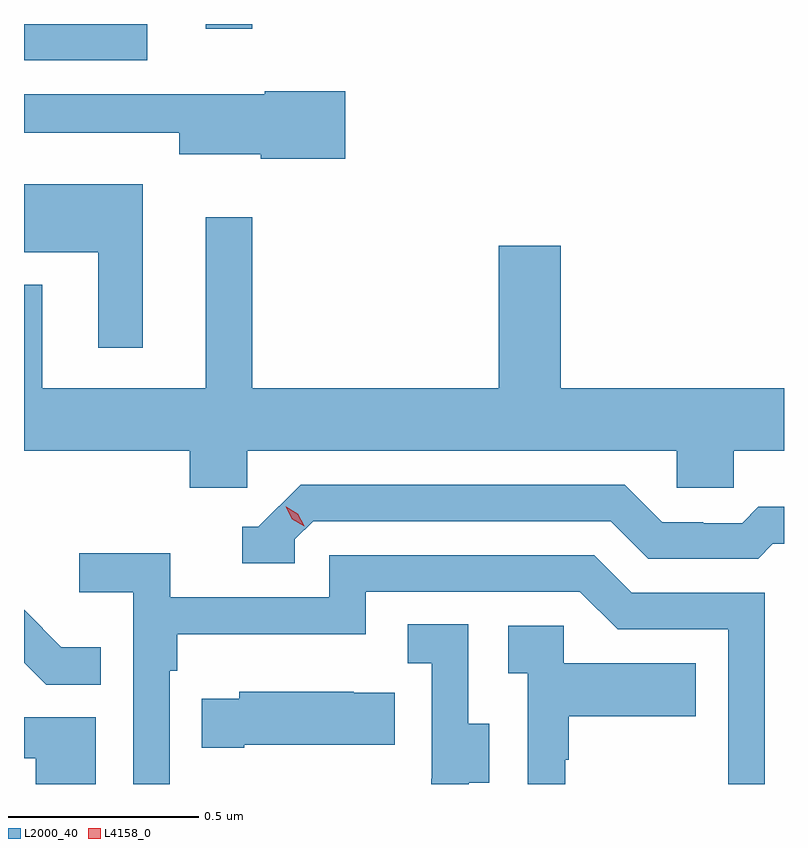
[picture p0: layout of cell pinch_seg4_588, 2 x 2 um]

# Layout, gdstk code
import gdstk
lib = gdstk.Library(unit=1e-6, precision=1e-09)
def R(c, l, rs):  # rectangles x0, y0, x1, y1
    for r in rs: c.add(gdstk.rectangle(r[:2], r[2:], *l))
def P(c, l, *ps):  # polygons
    for p in ps: c.add(gdstk.Polygon(p, *l))
L2000_40 = (2000, 40)
L4158_0 = (4158, 0)

pinch_seg4_588 = lib.new_cell('pinch_seg4_588')
R(pinch_seg4_588, L2000_40, [(1026.895,789.855,1027.219,789.951), (1027.373,789.939,1027.495,789.951)])
P(pinch_seg4_588, L2000_40, [(1027.741,789.774),(1027.528,789.774),(1027.528,789.766),(1026.895,789.766),(1026.895,789.665),(1027.304,789.665),(1027.304,789.608),(1027.518,789.608),(1027.518,789.596),(1027.741,789.596)],
  [(1027.207,789.529),(1026.895,789.529),(1026.895,789.35),(1027.091,789.35),(1027.091,789.099),(1027.207,789.099)],
  [(1027.482,788.828),(1028.613,788.828),(1028.613,788.73),(1028.763,788.73),(1028.763,788.828),(1028.895,788.828),(1028.895,788.992),(1028.308,788.992),(1028.308,789.367),(1028.144,789.367),(1028.144,788.992),(1027.495,788.992),(1027.495,789.442),(1027.373,789.442),(1027.373,788.992),(1026.943,788.992),(1026.943,789.265),(1026.895,789.265),(1026.895,788.828),(1027.331,788.828),(1027.331,788.73),(1027.482,788.73)],
  [(1027.608,788.595),(1027.656,788.643),(1028.439,788.643),(1028.538,788.544),(1028.827,788.544),(1028.866,788.583),(1028.895,788.583),(1028.895,788.68),(1028.827,788.68),(1028.785,788.637),(1028.682,788.637),(1028.682,788.64),(1028.575,788.64),(1028.476,788.739),(1027.623,788.739),(1027.512,788.628),(1027.469,788.628),(1027.469,788.532),(1027.608,788.532)],
  [(1027.278,788.249),(1027.298,788.249),(1027.298,788.345),(1027.794,788.345),(1027.794,788.457),(1028.358,788.457),(1028.457,788.358),(1028.748,788.358),(1028.748,787.951),(1028.844,787.951),(1028.844,788.454),(1028.494,788.454),(1028.395,788.553),(1027.698,788.553),(1027.698,788.442),(1027.28,788.442),(1027.28,788.558),(1027.041,788.558),(1027.041,788.456),(1027.182,788.456),(1027.182,787.951),(1027.278,787.951)],
  [(1027.097,788.311),(1026.993,788.311),(1026.895,788.409),(1026.895,788.27),(1026.953,788.212),(1027.097,788.212)],
  [(1028.065,787.954),(1028.119,787.954),(1028.119,788.109),(1028.064,788.109),(1028.064,788.372),(1027.905,788.372),(1027.905,788.269),(1027.968,788.269),(1027.968,787.965),(1027.967,787.965),(1027.967,787.951),(1028.065,787.951)],
  [(1028.319,788.015),(1028.329,788.015),(1028.329,788.129),(1028.663,788.129),(1028.663,788.269),(1028.316,788.269),(1028.316,788.367),(1028.169,788.367),(1028.169,788.243),(1028.22,788.243),(1028.22,787.951),(1028.319,787.951)],
  [(1027.474,788.054),(1027.871,788.054),(1027.871,788.191),(1027.763,788.191),(1027.763,788.194),(1027.461,788.194),(1027.461,788.176),(1027.363,788.176),(1027.363,788.047),(1027.474,788.047)],
  [(1027.084,788.127),(1026.895,788.127),(1026.895,788.019),(1026.926,788.019),(1026.926,787.951),(1027.084,787.951)])
P(pinch_seg4_588, L4158_0, [(1027.632,788.629),(1027.601,788.648),(1027.584,788.68),(1027.584,788.68),(1027.585,788.68),(1027.616,788.662),(1027.632,788.63),(1027.632,788.629)])

lib.write_gds('pinch_seg4_588.gds')
